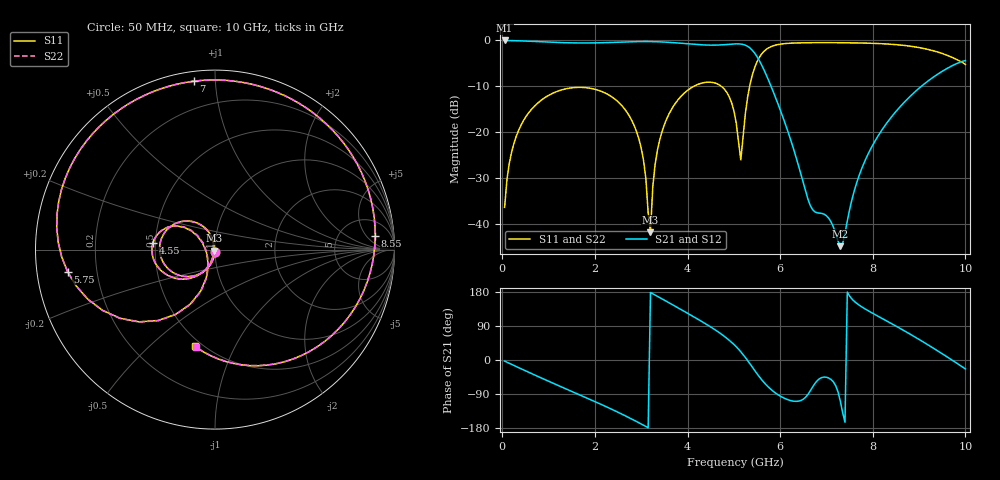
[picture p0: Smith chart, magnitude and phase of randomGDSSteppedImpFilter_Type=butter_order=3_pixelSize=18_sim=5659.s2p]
! freq	dB(S11)	phase(S11)	dB(S12)	phase(S12)
!  dB(S21)	phase(S21)	dB(S22)	phase(S22)
!S-par simulation data
#  GHz  S  DB  R 50
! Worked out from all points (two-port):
!   200 points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, 50 MHz to 10 GHz, reference 50 ohm
!   highest |S21| = 0.00 dB at 50 MHz (marker M1); lowest = -44.8 dB at 7.3 GHz (marker M2)
!   |S21| within 3 dB of the highest: start of sweep to 5.466 GHz
!   lowest |S11| = -41.7 dB at 3.2 GHz (marker M3), VSWR 1.02, Z = 49.4 - j0.585 ohm
!   |S11| at or under -10 dB: start of sweep to 4.134 GHz; 4.73 GHz to 5.341 GHz (610.9 MHz wide, 12.1 % of centre)
!   |S22| runs from -40.5 to -0.5 dB; largest |S21 - S12| = 0
!   S11 on the Smith chart (normalised r, x): 50 MHz: 1.00, -0.03; 4.55 GHz: 0.48, +0.04; 5.75 GHz: 0.09, -0.07; 7 GHz: 0.05, +0.88; 8.55 GHz: 12, +9; 10 GHz: 0.46, -0.70
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0.05  -36.33 -92.7  -0.00 -2.9  -0.00 -2.9  -36.33 -92.7
0.2  -24.35 -101.6  -0.04 -11.5  -0.04 -11.5  -24.35 -101.6
0.5  -16.74 -119.1  -0.13 -28.5  -0.13 -28.5  -16.74 -119.0
1.75  -10.23 173.4  -0.55 -96.1  -0.55 -96.1  -10.23 173.6
2.8  -17.48 114.8  -0.29 -156.1  -0.29 -156.1  -17.48 115.5
3.05  -26.10 102.3  -0.24 -172.0  -0.24 -172.0  -26.07 104.4
3.2  -41.72 -133.9  -0.25 178.1  -0.25 178.1  -40.52 -141.4
3.25  -31.81 -106.1  -0.26 174.8  -0.26 174.8  -31.66 -110.4
3.4  -21.61 -108.9  -0.31 164.7  -0.31 164.7  -21.59 -110.3
4.55  -9.16 174.3  -1.03 83.3  -1.03 83.3  -9.16 173.9
5.05  -17.86 142.0  -0.75 35.1  -0.75 35.1  -17.90 141.0
5.15  -26.01 -162.5  -0.79 21.7  -0.79 21.7  -26.41 -162.7
5.35  -9.54 -114.4  -1.66 -10.3  -1.66 -10.3  -9.55 -114.1
5.75  -1.61 -171.5  -8.67 -71.8  -8.67 -71.8  -1.61 -171.4
6.7  -0.49 114.5  -36.81 -71.4  -36.81 -71.4  -0.49 114.6
7  -0.49 97.2  -38.16 -45.5  -38.16 -45.5  -0.49 97.2
7.3  -0.50 80.2  -44.78 -109.0  -44.78 -109.0  -0.50 80.2
7.75  -0.56 54.3  -28.19 141.1  -28.19 141.1  -0.56 54.3
8.35  -0.80 17.7  -17.34 99.7  -17.34 99.7  -0.80 17.8
8.55  -0.96 4.7  -14.88 86.1  -14.88 86.1  -0.96 4.8
9.35  -2.37 -50.9  -7.69 28.1  -7.69 28.1  -2.37 -50.8
10  -5.23 -101.9  -4.40 -23.5  -4.40 -23.5  -5.15 -101.1
